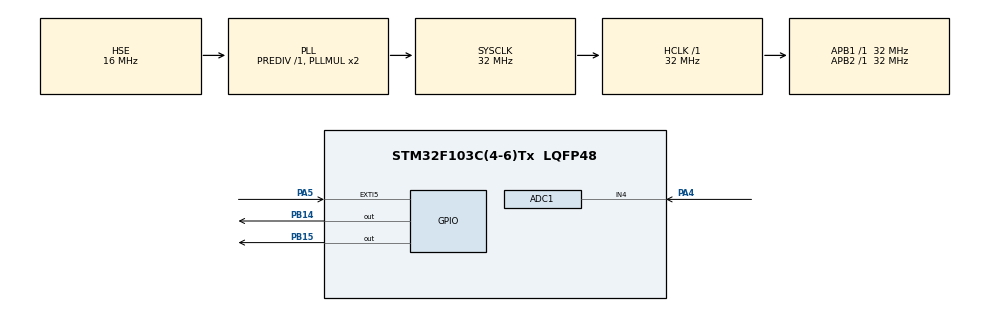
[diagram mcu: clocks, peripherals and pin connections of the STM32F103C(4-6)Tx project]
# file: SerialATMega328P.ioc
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ADC1.Channel-0\#ChannelRegularConversion=ADC_CHANNEL_4
ADC1.NbrOfConversionFlag=1
ADC1.Rank-0\#ChannelRegularConversion=1
ADC1.SamplingTime-0\#ChannelRegularConversion=ADC_SAMPLETIME_1CYCLE_5
ADC1.master=1
Mcu.Family=STM32F1
Mcu.Name=STM32F103C(4-6)Tx
Mcu.Package=LQFP48
NVIC.EXTI9_5_IRQn=true\:0\:0\:false\:false\:true\:true\:true\:true
NVIC.PriorityGroup=NVIC_PRIORITYGROUP_4
NVIC.TIM2_IRQn=true\:0\:0\:false\:false\:true\:true\:true\:true
PA4.Signal=ADCx_IN4
PA5.GPIO_ModeDefaultEXTI=GPIO_MODE_IT_FALLING
PA5.GPIO_PuPd=GPIO_PULLDOWN
PA5.Signal=GPXTI5
PB14.Signal=GPIO_Output
PB15.Signal=GPIO_Output
PD0-OSC_IN.Mode=HSE-External-Oscillator
PD0-OSC_IN.Signal=RCC_OSC_IN
PD1-OSC_OUT.Mode=HSE-External-Oscillator
PD1-OSC_OUT.Signal=RCC_OSC_OUT
ProjectManager.HeapSize=0x200
ProjectManager.StackSize=0x400
ProjectManager.TargetToolchain=STM32CubeIDE
RCC.ADCPresc=RCC_ADCPCLK2_DIV4
RCC.AHBFreq_Value=32000000
RCC.APB1Freq_Value=32000000
RCC.APB1TimFreq_Value=32000000
RCC.APB2Freq_Value=32000000
RCC.APB2TimFreq_Value=32000000
RCC.HCLKFreq_Value=32000000
RCC.HSE_VALUE=16000000
RCC.PLLSourceVirtual=RCC_PLLSOURCE_HSE
RCC.SYSCLKFreq_VALUE=32000000
RCC.SYSCLKSource=RCC_SYSCLKSOURCE_PLLCLK
RCC.USBFreq_Value=32000000
SH.ADCx_IN4.0=ADC1_IN4,IN4
TIM2.Period=1
TIM2.Prescaler=320
VP_SYS_VS_ND.Mode=No_Debug
VP_TIM2_VS_ClockSourceINT.Mode=Internal
board=custom

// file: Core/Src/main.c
/* USER CODE BEGIN Header */
/**
  ******************************************************************************
  * @file           : main.c
  * @brief          : Main program body
  ******************************************************************************
  * @attention
  *
  * Copyright (c) 2024 STMicroelectronics.
  * All rights reserved.
  *
  * This software is licensed under terms that can be found in the LICENSE file
  * in the root directory of this software component.
  * If no LICENSE file comes with this software, it is provided AS-IS.
  *
  ******************************************************************************
  */
/* USER CODE END Header */
#include "main.h"

/* USER CODE BEGIN Includes */
#include <stdint.h>
/* USER CODE END Includes */

/* USER CODE BEGIN PTD */
volatile uint8_t u1_transValue = 0;
volatile uint16_t u2_Value = 0;
volatile uint8_t u1_state = 0;
/* USER CODE END PTD */

ADC_HandleTypeDef hadc1;

TIM_HandleTypeDef htim2;

void SystemClock_Config(void);
static void MX_GPIO_Init(void);
static void MX_ADC1_Init(void);
static void MX_TIM2_Init(void);

/* USER CODE BEGIN 0 */
uint8_t Umwandler(uint16_t);
/* USER CODE END 0 */

int main(void)
{

  /* MCU Configuration--------------------------------------------------------*/

  /* Reset of all peripherals, Initializes the Flash interface and the Systick. */
  HAL_Init();

  /* Configure the system clock */
  SystemClock_Config();

  /* Initialize all configured peripherals */
  MX_GPIO_Init();
  MX_ADC1_Init();
  MX_TIM2_Init();
  /* USER CODE BEGIN 2 */
  HAL_ADCEx_Calibration_Start(&hadc1);
  /* USER CODE END 2 */

  /* Infinite loop */
  /* USER CODE BEGIN WHILE */
  while (1)
  {
    HAL_ADC_Start_IT(&hadc1);
    u2_Value = HAL_ADC_GetValue(&hadc1);
    /* USER CODE END WHILE */

  }
}

void SystemClock_Config(void)
{
  RCC_OscInitTypeDef RCC_OscInitStruct = {0};
  RCC_ClkInitTypeDef RCC_ClkInitStruct = {0};
  RCC_PeriphCLKInitTypeDef PeriphClkInit = {0};

  /** Initializes the RCC Oscillators according to the specified parameters
  * in the RCC_OscInitTypeDef structure.
  */
  RCC_OscInitStruct.OscillatorType = RCC_OSCILLATORTYPE_HSE;
  RCC_OscInitStruct.HSEState = RCC_HSE_ON;
  RCC_OscInitStruct.HSEPredivValue = RCC_HSE_PREDIV_DIV1;
  RCC_OscInitStruct.HSIState = RCC_HSI_ON;
  RCC_OscInitStruct.PLL.PLLState = RCC_PLL_ON;
  RCC_OscInitStruct.PLL.PLLSource = RCC_PLLSOURCE_HSE;
  RCC_OscInitStruct.PLL.PLLMUL = RCC_PLL_MUL2;
  if (HAL_RCC_OscConfig(&RCC_OscInitStruct) != HAL_OK)
  {
    Error_Handler();
  }

  /** Initializes the CPU, AHB and APB buses clocks
  */
  RCC_ClkInitStruct.ClockType = RCC_CLOCKTYPE_HCLK|RCC_CLOCKTYPE_SYSCLK
                              |RCC_CLOCKTYPE_PCLK1|RCC_CLOCKTYPE_PCLK2;
  RCC_ClkInitStruct.SYSCLKSource = RCC_SYSCLKSOURCE_PLLCLK;
  RCC_ClkInitStruct.AHBCLKDivider = RCC_SYSCLK_DIV1;
  RCC_ClkInitStruct.APB1CLKDivider = RCC_HCLK_DIV1;
  RCC_ClkInitStruct.APB2CLKDivider = RCC_HCLK_DIV1;

  if (HAL_RCC_ClockConfig(&RCC_ClkInitStruct, FLASH_LATENCY_1) != HAL_OK)
  {
    Error_Handler();
  }
  PeriphClkInit.PeriphClockSelection = RCC_PERIPHCLK_ADC;
  PeriphClkInit.AdcClockSelection = RCC_ADCPCLK2_DIV4;
  if (HAL_RCCEx_PeriphCLKConfig(&PeriphClkInit) != HAL_OK)
  {
    Error_Handler();
  }
}

static void MX_ADC1_Init(void)
{

  ADC_ChannelConfTypeDef sConfig = {0};

  /** Common config
  */
  hadc1.Instance = ADC1;
  hadc1.Init.ScanConvMode = ADC_SCAN_DISABLE;
  hadc1.Init.ContinuousConvMode = DISABLE;
  hadc1.Init.DiscontinuousConvMode = DISABLE;
  hadc1.Init.ExternalTrigConv = ADC_SOFTWARE_START;
  hadc1.Init.DataAlign = ADC_DATAALIGN_RIGHT;
  hadc1.Init.NbrOfConversion = 1;
  if (HAL_ADC_Init(&hadc1) != HAL_OK)
  {
    Error_Handler();
  }

  /** Configure Regular Channel
  */
  sConfig.Channel = ADC_CHANNEL_4;
  sConfig.Rank = ADC_REGULAR_RANK_1;
  sConfig.SamplingTime = ADC_SAMPLETIME_1CYCLE_5;
  if (HAL_ADC_ConfigChannel(&hadc1, &sConfig) != HAL_OK)
  {
    Error_Handler();
  }

}

static void MX_TIM2_Init(void)
{

  TIM_ClockConfigTypeDef sClockSourceConfig = {0};
  TIM_MasterConfigTypeDef sMasterConfig = {0};

  htim2.Instance = TIM2;
  htim2.Init.Prescaler = 320;
  htim2.Init.CounterMode = TIM_COUNTERMODE_UP;
  htim2.Init.Period = 1;
  htim2.Init.ClockDivision = TIM_CLOCKDIVISION_DIV1;
  htim2.Init.AutoReloadPreload = TIM_AUTORELOAD_PRELOAD_DISABLE;
  if (HAL_TIM_Base_Init(&htim2) != HAL_OK)
  {
    Error_Handler();
  }
  sClockSourceConfig.ClockSource = TIM_CLOCKSOURCE_INTERNAL;
  if (HAL_TIM_ConfigClockSource(&htim2, &sClockSourceConfig) != HAL_OK)
  {
    Error_Handler();
  }
  sMasterConfig.MasterOutputTrigger = TIM_TRGO_RESET;
  sMasterConfig.MasterSlaveMode = TIM_MASTERSLAVEMODE_DISABLE;
  if (HAL_TIMEx_MasterConfigSynchronization(&htim2, &sMasterConfig) != HAL_OK)
  {
    Error_Handler();
  }

}

static void MX_GPIO_Init(void)
{
  GPIO_InitTypeDef GPIO_InitStruct = {0};

  /* GPIO Ports Clock Enable */
  __HAL_RCC_GPIOD_CLK_ENABLE();
  __HAL_RCC_GPIOA_CLK_ENABLE();
  __HAL_RCC_GPIOB_CLK_ENABLE();

  /*Configure GPIO pin Output Level */
  HAL_GPIO_WritePin(GPIOB, GPIO_PIN_14|GPIO_PIN_15, GPIO_PIN_RESET);

  /*Configure GPIO pin : PA5 */
  GPIO_InitStruct.Pin = GPIO_PIN_5;
  GPIO_InitStruct.Mode = GPIO_MODE_IT_FALLING;
  GPIO_InitStruct.Pull = GPIO_PULLDOWN;
  HAL_GPIO_Init(GPIOA, &GPIO_InitStruct);

  /*Configure GPIO pins : PB14 PB15 */
  GPIO_InitStruct.Pin = GPIO_PIN_14|GPIO_PIN_15;
  GPIO_InitStruct.Mode = GPIO_MODE_OUTPUT_PP;
  GPIO_InitStruct.Pull = GPIO_NOPULL;
  GPIO_InitStruct.Speed = GPIO_SPEED_FREQ_LOW;
  HAL_GPIO_Init(GPIOB, &GPIO_InitStruct);

  /* EXTI interrupt init*/
  HAL_NVIC_SetPriority(EXTI9_5_IRQn, 0, 0);
  HAL_NVIC_EnableIRQ(EXTI9_5_IRQn);

}

/* USER CODE BEGIN 4 */
//Lineare Funktion
uint8_t Umwandler(uint16_t u2_x){
	//Formel für: 0,2V = 0001 und 3,2 = 1111 mit cast in int8_t
	uint8_t u1_y = (uint8_t)((14.0/3712)*u2_x + (1.0/29));
	//Setze alle Bits bis auf die erstene 4 auf null
	u1_y = u1_y & 0x0F;
	return u1_y;
}
//Interrupt vom Taster
void HAL_GPIO_EXTI_Callback(uint16_t GPIO_Pin){
	//Setze den TransferSatus auf 0
	u1_state =0;
	//Erzeuge den WErt, der übertragen werden soll
	u1_transValue = Umwandler(u2_Value);
	//starte den Timer-Interrupt
	HAL_TIM_Base_Start_IT(&htim2);
}

//Timer Interrupt
void HAL_TIM_PeriodElapsedCallback(TIM_HandleTypeDef *htim){

	//u1_state = 1 --> Höchstes Bit
	//u1_state = 2 --> Pause
	//u1_state = 3 --> zweithöchstes Bit
	//u1_state = 4 --> Pause
	//u1_state = 5 --> vorletztes Bit
	//u1_state = 6 --> Pause
	//u1_state = 7 --> letztes Bit
	//u1_state = 8 --> ENDE
	//erhöhe den TransferStatus
	u1_state++;
	if (u1_state & 0x01){
		//Setze den DATA-Ausgang auf 1, wenn das 4.Bit 1 ist
		HAL_GPIO_WritePin(GPIOB,GPIO_PIN_14,(u1_transValue & 0x08)? GPIO_PIN_SET:GPIO_PIN_RESET);
		//Setze den CLK-Ausgang auf 1
		HAL_GPIO_WritePin(GPIOB,GPIO_PIN_15,GPIO_PIN_SET);
		//Bitshifte den Übertragungswert 1 nach links
		//und Lösche alle Bits außer die ersten 4
		u1_transValue = u1_transValue << 1;
		u1_transValue = u1_transValue & 0x0F;
	}
	//Pause
	else{
		//setze den DATA-Ausgang auf 0
		HAL_GPIO_WritePin(GPIOB,GPIO_PIN_14,GPIO_PIN_RESET);
		//Setze den CLK-Ausgang auf 0
		HAL_GPIO_WritePin(GPIOB,GPIO_PIN_15,GPIO_PIN_RESET);
	}
	//Wenn der Transferstatus 8 ist beende die Übertragung mit dem Timer
	if (u1_state == 8){
		HAL_TIM_Base_Stop_IT(&htim2);
	}
}
/* USER CODE END 4 */

void Error_Handler(void)
{
  __disable_irq();
  while (1)
  {
  }
}
